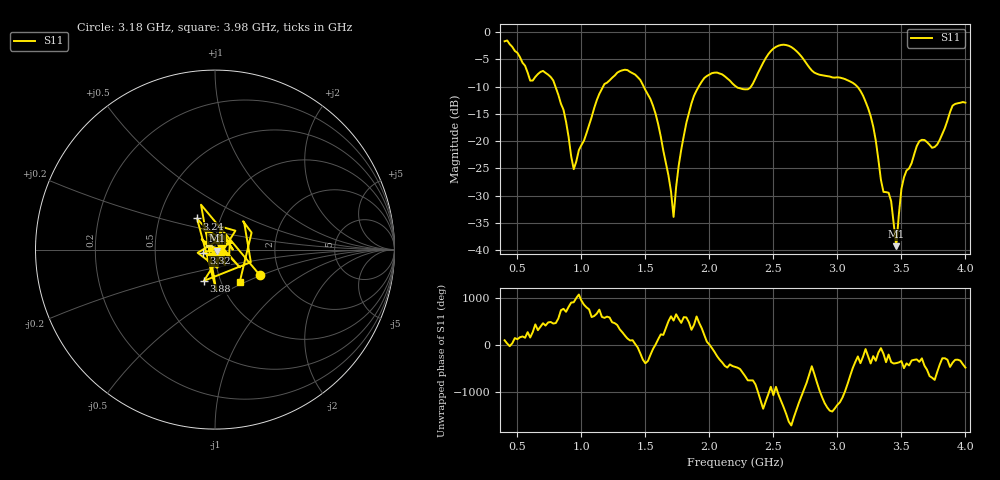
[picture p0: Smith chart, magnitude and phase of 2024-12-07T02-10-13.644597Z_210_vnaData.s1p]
!Created with skrf (http://scikit-rf.org).
# Hz S RI R 50.0
!freq ReS11 ImS11
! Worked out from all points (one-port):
!   181 points, 400 MHz to 4 GHz, reference 50 ohm
!   lowest |S11| = -39.2 dB at 3.46 GHz (marker M1), VSWR 1.02, Z = 51 - j0.53 ohm
!   |S11| at or under -10 dB: 797.4 MHz to 1.169 GHz (372 MHz wide, 37.8 % of centre); 1.487 GHz to 1.917 GHz (429.8 MHz wide, 25.3 % of centre); 3.155 GHz to end of sweep (the widest 3 of 4)
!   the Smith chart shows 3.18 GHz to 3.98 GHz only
!   S11 on the Smith chart (normalised r, x): 3.18 GHz: 1.58, -0.49; 3.24 GHz: 0.77, +0.28; 3.32 GHz: 0.88, -0.03; 3.88 GHz: 0.83, -0.30; 3.98 GHz: 1.22, -0.47
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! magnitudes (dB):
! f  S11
! 400 MHz  -1.7
! 600 MHz  -8.9
! 760 MHz  -8.2
! 860 MHz  -14.2
! 940 MHz  -25.1
! 1.14 GHz  -11.3
! 1.3 GHz  -7.2
! 1.56 GHz  -13.5
! 1.72 GHz  -33.9
! 1.76 GHz  -24.5
! 1.86 GHz  -13.1
! 1.94 GHz  -9.1
! 2.2 GHz  -9.9
! 2.66 GHz  -3.1
! 3.1 GHz  -9.1
! 3.18 GHz  -10.8
! 3.24 GHz  -14.0
! 3.32 GHz  -23.3
! 3.36 GHz  -29.3
! 3.42 GHz  -31.0
! 3.46 GHz  -39.2
! 3.5 GHz  -28.8
! 3.56 GHz  -25.0
! 3.64 GHz  -20.0
! 3.78 GHz  -20.6
! 3.88 GHz  -14.7
! 3.98 GHz  -12.8
! 4 GHz  -12.9
